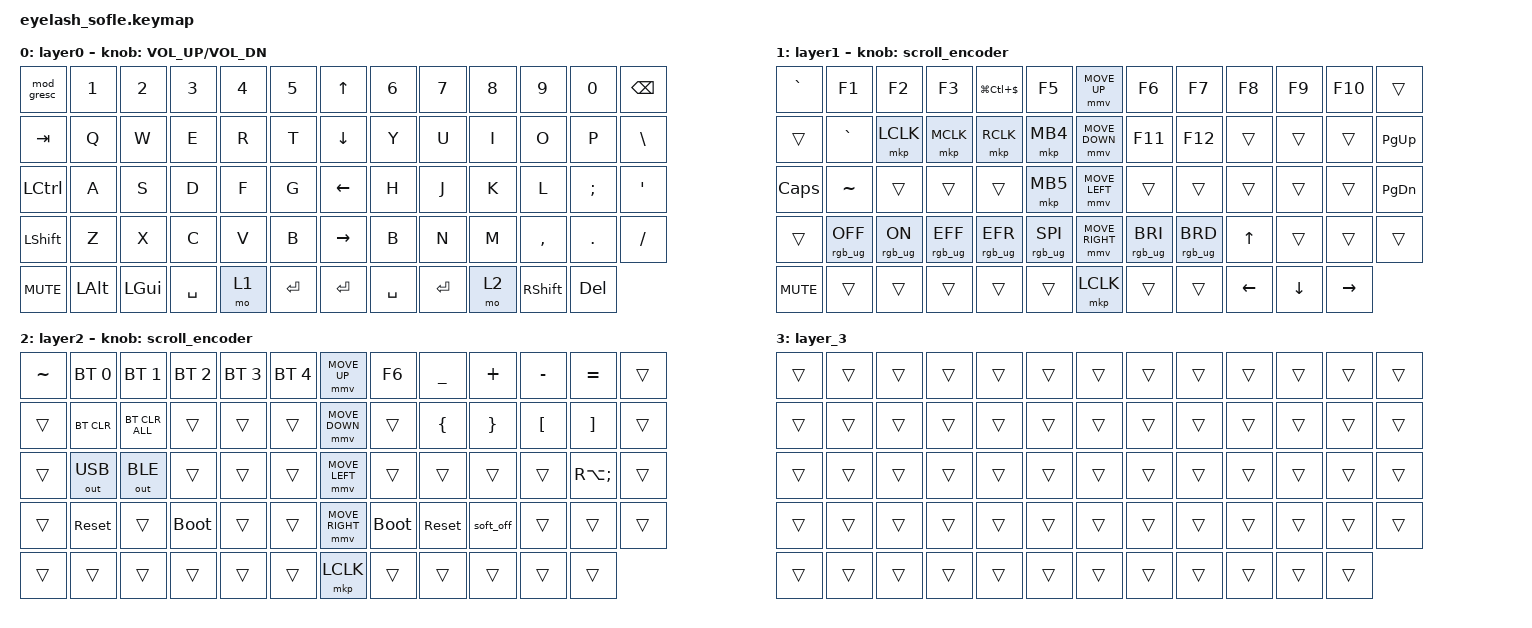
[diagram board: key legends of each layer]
#define ZMK_POINTING_DEFAULT_MOVE_VAL 1200  // 600
#define ZMK_POINTING_DEFAULT_SCRL_VAL 35    // 10
#include <input/processors.dtsi>
#include <behaviors.dtsi>
#include <dt-bindings/zmk/bt.h>
#include <dt-bindings/zmk/keys.h>
#include <dt-bindings/zmk/outputs.h>
#include <dt-bindings/zmk/pointing.h>
#include <dt-bindings/zmk/rgb.h>
#include <zephyr/dt-bindings/input/input-event-codes.h>

/ {
  zip_scroll_scaler: zip_scroll_scaler {
    compatible = "zmk,input-processor-scaler";
    #input-processor-cells = <2>;
    type = <INPUT_EV_REL>;
    codes = <INPUT_REL_WHEEL INPUT_REL_HWHEEL>;
    track-remainders;
  };
};

&mmv_input_listener {
       input-processors = <&zip_xy_scaler 2 1>;
};

&msc_input_listener {
       input-processors = <&zip_scroll_scaler 2 1>;
};

&msc {
    acceleration-exponent = <0>;      // 0
    time-to-max-speed-ms = <0>;       // 300
    delay-ms = <0>;                   // 0
};

&mmv {
    time-to-max-speed-ms = <400>;
    acceleration-exponent = <1>;
};

/ {
    behaviors {
        mod_gresc: mod_grave_escape {
            compatible = "zmk,behavior-mod-morph";
            #binding-cells = <0>;
            bindings = <&kp ESC>, <&kp GRAVE>;
            mods = <(MOD_LGUI|MOD_LSFT|MOD_RGUI|MOD_RSFT)>;
            keep-mods = <(MOD_LGUI|MOD_LSFT)>;
        };
    };
};

/ {

    scroll_encoder: scroll_encoder {
        compatible = "zmk,behavior-sensor-rotate";
        #sensor-binding-cells = <0>;
        bindings = <&msc SCRL_DOWN>, <&msc SCRL_UP>;
        tap-ms = <30>;
    };

    keymap {
        compatible = "zmk,keymap";

        layer0 {
            bindings = <
&mod_gresc    &kp N1     &kp N2        &kp N3        &kp N4  &kp N5       &kp UP_ARROW     &kp N6     &kp N7     &kp N8     &kp N9           &kp N0      &kp BACKSPACE
&kp TAB     &kp Q      &kp W         &kp E         &kp R   &kp T        &kp DOWN_ARROW   &kp Y      &kp U      &kp I      &kp O            &kp P       &kp BSLH
&kp LCTRL    &kp A      &kp S         &kp D         &kp F   &kp G        &kp LEFT_ARROW   &kp H      &kp J      &kp K      &kp L            &kp SEMI    &kp APOS
&kp LSHFT   &kp Z      &kp X         &kp C         &kp V   &kp B        &kp RIGHT_ARROW  &kp B      &kp N      &kp M  &kp COMMA          &kp DOT    &kp FSLH
&kp C_MUTE  &kp LALT  &kp LGUI   &kp SPACE  &mo 1   &kp ENTER    &kp ENTER        &kp SPACE  &kp ENTER  &mo 2      &kp RIGHT_SHIFT  &kp DELETE
            >;

            sensor-bindings = <&inc_dec_kp C_VOLUME_UP C_VOL_DN>;
            display-name = "layer0";
        };

        layer_1 {
            bindings = <
&kp GRAVE   &kp F1           &kp F2          &kp F3           &kp LG(LC(DOLLAR))           &kp F5             &mmv MOVE_UP     &kp F6           &kp F7           &kp F8      &kp F9     &kp F10           &trans
&trans      &kp GRAVE        &mkp LCLK       &mkp MCLK        &mkp RCLK        &mkp MB4           &mmv MOVE_DOWN   &kp F11        &kp F12          &trans      &trans   &trans         &kp PG_UP
&kp CAPS     &kp TILDE        &trans          &trans           &trans           &mkp MB5           &mmv MOVE_LEFT   &trans        &trans         &trans    &trans  &trans  &kp PG_DN
&trans      &rgb_ug RGB_OFF  &rgb_ug RGB_ON  &rgb_ug RGB_EFF  &rgb_ug RGB_EFR  &rgb_ug RGB_SPI    &mmv MOVE_RIGHT  &rgb_ug RGB_BRI  &rgb_ug RGB_BRD  &kp UP  &trans    &trans           &trans
&kp C_MUTE  &trans           &trans          &trans           &trans           &trans             &mkp LCLK        &trans           &trans           &kp LEFT      &kp DOWN     &kp RIGHT
            >;

            display-name = "layer1";
            sensor-bindings = <&scroll_encoder>;
        };

        layer_2 {
            bindings = <
&kp TILDE  &bt BT_SEL 0  &bt BT_SEL 1    &bt BT_SEL 2  &bt BT_SEL 3  &bt BT_SEL 4    &mmv MOVE_UP     &kp F6  &kp UNDER  &kp PLUS      &kp MINUS     &kp EQUAL      &trans
&trans     &bt BT_CLR    &bt BT_CLR_ALL  &trans        &trans        &trans          &mmv MOVE_DOWN   &trans  &kp LBRC  &kp RBRC     &kp LEFT_BRACKET    &kp RIGHT_BRACKET    &trans
&trans     &out OUT_USB  &out OUT_BLE    &trans        &trans        &trans          &mmv MOVE_LEFT   &trans  &trans  &trans      &trans     &kp RA(SEMI)     &trans
&trans     &sys_reset    &trans          &bootloader   &trans        &trans          &mmv MOVE_RIGHT  &bootloader  &sys_reset  &soft_off  &trans  &trans  &trans
&trans     &trans        &trans          &trans        &trans        &trans          &mkp LCLK        &trans  &trans  &trans      &trans     &trans
            >;

            display-name = "layer2"; 
            sensor-bindings = <&scroll_encoder>;
        };

        layer_3 {
            bindings = <
&trans  &trans  &trans  &trans  &trans  &trans    &trans  &trans  &trans  &trans  &trans  &trans  &trans
&trans  &trans  &trans  &trans  &trans  &trans    &trans  &trans  &trans  &trans  &trans  &trans  &trans
&trans  &trans  &trans  &trans  &trans  &trans    &trans  &trans  &trans  &trans  &trans  &trans  &trans
&trans  &trans  &trans  &trans  &trans  &trans    &trans  &trans  &trans  &trans  &trans  &trans  &trans
&trans  &trans  &trans  &trans  &trans  &trans    &trans  &trans  &trans  &trans  &trans  &trans
            >;
        };
    };
};
